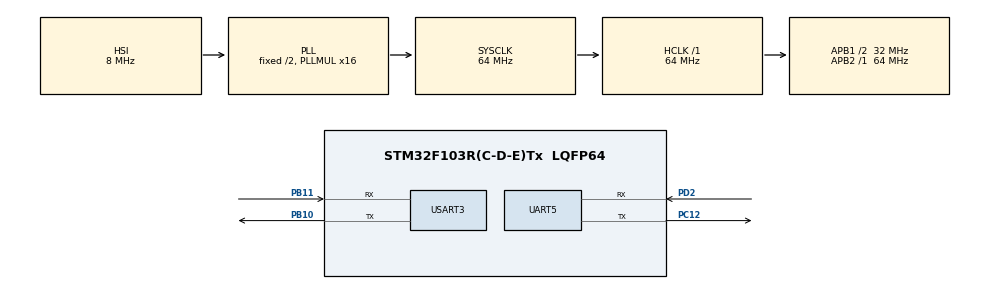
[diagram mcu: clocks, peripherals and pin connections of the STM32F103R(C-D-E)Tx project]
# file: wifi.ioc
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Dma.Request0=USART3_RX
Dma.USART3_RX.0.Direction=DMA_PERIPH_TO_MEMORY
Dma.USART3_RX.0.Instance=DMA1_Channel3
Dma.USART3_RX.0.MemDataAlignment=DMA_MDATAALIGN_BYTE
Dma.USART3_RX.0.MemInc=DMA_MINC_ENABLE
Dma.USART3_RX.0.Mode=DMA_NORMAL
Dma.USART3_RX.0.PeriphDataAlignment=DMA_PDATAALIGN_BYTE
Dma.USART3_RX.0.PeriphInc=DMA_PINC_DISABLE
Dma.USART3_RX.0.Priority=DMA_PRIORITY_LOW
Mcu.Family=STM32F1
Mcu.Name=STM32F103R(C-D-E)Tx
Mcu.Package=LQFP64
NVIC.DMA1_Channel3_IRQn=true\:0\:0\:false\:false\:true\:false
NVIC.PriorityGroup=NVIC_PRIORITYGROUP_4
NVIC.USART3_IRQn=true\:0\:0\:false\:false\:true\:true
PA13.Mode=Serial_Wire
PA13.Signal=SYS_JTMS-SWDIO
PA14.Mode=Serial_Wire
PA14.Signal=SYS_JTCK-SWCLK
PB10.Mode=Asynchronous
PB10.Signal=USART3_TX
PB11.Mode=Asynchronous
PB11.Signal=USART3_RX
PC12.Mode=Asynchronous
PC12.Signal=UART5_TX
PD2.Mode=Asynchronous
PD2.Signal=UART5_RX
ProjectManager.HeapSize=0x200
ProjectManager.StackSize=0x400
ProjectManager.TargetToolchain=MDK-ARM V5
RCC.AHBFreq_Value=64000000
RCC.APB1CLKDivider=RCC_HCLK_DIV2
RCC.APB1Freq_Value=32000000
RCC.APB1TimFreq_Value=64000000
RCC.APB2Freq_Value=64000000
RCC.APB2TimFreq_Value=64000000
RCC.HCLKFreq_Value=64000000
RCC.PLLMUL=RCC_PLL_MUL16
RCC.SYSCLKFreq_VALUE=64000000
RCC.SYSCLKSource=RCC_SYSCLKSOURCE_PLLCLK
RCC.USBFreq_Value=64000000
UART5.VirtualMode=Asynchronous
USART3.VirtualMode=VM_ASYNC
board=custom

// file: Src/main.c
/**
  ******************************************************************************
  * @file           : main.c
  * @brief          : Main program body
  ******************************************************************************
  ** This notice applies to any and all portions of this file
  * that are not between comment pairs USER CODE BEGIN and
  * USER CODE END. Other portions of this file, whether
  * inserted by the user or by software development tools
  * are owned by their respective copyright owners.
  *
  * COPYRIGHT(c) 2019 STMicroelectronics
  *
  * Redistribution and use in source and binary forms, with or without modification,
  * are permitted provided that the following conditions are met:
  *   1. Redistributions of source code must retain the above copyright notice,
  *      this list of conditions and the following disclaimer.
  *   2. Redistributions in binary form must reproduce the above copyright notice,
  *      this list of conditions and the following disclaimer in the documentation
  *      and/or other materials provided with the distribution.
  *   3. Neither the name of STMicroelectronics nor the names of its contributors
  *      may be used to endorse or promote products derived from this software
  *      without specific prior written permission.
  *
  * THIS SOFTWARE IS PROVIDED BY THE COPYRIGHT HOLDERS AND CONTRIBUTORS "AS IS"
  * AND ANY EXPRESS OR IMPLIED WARRANTIES, INCLUDING, BUT NOT LIMITED TO, THE
  * IMPLIED WARRANTIES OF MERCHANTABILITY AND FITNESS FOR A PARTICULAR PURPOSE ARE
  * DISCLAIMED. IN NO EVENT SHALL THE COPYRIGHT HOLDER OR CONTRIBUTORS BE LIABLE
  * FOR ANY DIRECT, INDIRECT, INCIDENTAL, SPECIAL, EXEMPLARY, OR CONSEQUENTIAL
  * DAMAGES (INCLUDING, BUT NOT LIMITED TO, PROCUREMENT OF SUBSTITUTE GOODS OR
  * SERVICES; LOSS OF USE, DATA, OR PROFITS; OR BUSINESS INTERRUPTION) HOWEVER
  * CAUSED AND ON ANY THEORY OF LIABILITY, WHETHER IN CONTRACT, STRICT LIABILITY,
  * OR TORT (INCLUDING NEGLIGENCE OR OTHERWISE) ARISING IN ANY WAY OUT OF THE USE
  * OF THIS SOFTWARE, EVEN IF ADVISED OF THE POSSIBILITY OF SUCH DAMAGE.
  *
  ******************************************************************************
  */
#include "main.h"
#include "stm32f1xx_hal.h"

/* USER CODE BEGIN Includes */
#include "string.h"
#include "serial-ops.h"
#include "wifi-ops.h"
#include "flash-ops.h"
/* USER CODE END Includes */

UART_HandleTypeDef huart5;
UART_HandleTypeDef huart3;
DMA_HandleTypeDef hdma_usart3_rx;

/* USER CODE BEGIN PV */
/* Private variables ---------------------------------------------------------*/

/* USER CODE END PV */

void SystemClock_Config(void);
static void MX_GPIO_Init(void);
static void MX_DMA_Init(void);
static void MX_UART5_Init(void);
static void MX_USART3_UART_Init(void);

/* USER CODE BEGIN PFP */
/* Private function prototypes -----------------------------------------------*/

struct wifi_config{
	char apname[16];
	char appass[16];
	char wifiname[16];
	char wifipass[16];
	}wifi;
/* USER CODE END PFP */

/* USER CODE BEGIN 0 */
char databuf[64];
/* USER CODE END 0 */

int main(void)
{

  /* MCU Configuration----------------------------------------------------------*/

  /* Reset of all peripherals, Initializes the Flash interface and the Systick. */
  HAL_Init();

  /* Configure the system clock */
  SystemClock_Config();

  /* Initialize all configured peripherals */
  MX_GPIO_Init();
  MX_DMA_Init();
  MX_UART5_Init();
  MX_USART3_UART_Init();
  /* USER CODE BEGIN 2 */
  __HAL_UART_ENABLE_IT(&huart3,UART_IT_IDLE);
	HAL_UART_Receive_DMA(&huart3,(uint8_t *)databuf,sizeof(databuf));   //dma接收数据
  /* USER CODE END 2 */

  /* Infinite loop */
  /* USER CODE BEGIN WHILE */

	int ret;
	int linkid;
	char  APNAME[]="baojinming";
	char  APPASS[]="12332112345";

	ret=wifi_ap_init(&huart3);       //wifi的AP模式初始化
	if(ret<0)
	{
		char *ptmp="wifi_ap_init failed\n";
		HAL_UART_Transmit(&huart5,(uint8_t *)"wifi_ap_init failed!\n",strlen("wifi_ap_init failed!\n"),100);
		return -12;
	}else
	{
	  HAL_UART_Transmit(&huart5,(uint8_t *)"wifi_ap_init success!\n",strlen("wifi_ap_init success!\n"),100);

	   //char data[64];
	   memset(&wifi,0,sizeof(wifi));
		int flag;
	   flash_ops_read(PAGE0_ADDR,&wifi,sizeof(wifi));
	   if(strlen(wifi.apname)==0 && wifi.apname[0]=='\0' && strlen(wifi.appass)==0 && wifi.appass[0]=='\0' )
	  {
			HAL_UART_Transmit(&huart5,(uint8_t *)"wifi_ap_start config!\n",strlen("wifi_ap_start config!\n"),100);
			strcpy(wifi.apname,APNAME);
	    strcpy(wifi.appass,APPASS);
	    flash_ops_write(PAGE0_ADDR,(int *)&wifi,sizeof(wifi));
		 }else{
			HAL_UART_Transmit(&huart5,(uint8_t *)"wifi_ap_starting!\n",strlen("wifi_ap_starting!\n"),100);
		 }
		 flag=wifi_ap_set_args(&huart3,wifi.apname,wifi.appass);
		 if(flag<0)
		 {
			 char *ptmp="wifi_ap_set_args failed\n";
		   HAL_UART_Transmit(&huart5,(uint8_t *)"wifi_ap_set_args failed!\n",strlen("wifi_ap_set_args failed!\n"),100);
		   return -12;
		 }else{
			 HAL_UART_Transmit(&huart5,(uint8_t *)"wifi_ap_set_args success!\n",strlen("wifi_ap_set_args success!\n"),100);
		   linkid=wifi_listen_and_wait_connect_timeout(&huart3,10001,60*1000);
		  if(linkid <0)
		  {
			 HAL_UART_Transmit(&huart5,(uint8_t *)"wifi_listen_and_wait_connect_timeout!\n",strlen("wifi_listen_and_wait_connect_timeout!\n"),100);
		   return -12;
		  }
		 }
	}
  while (1)
  {

  /* USER CODE END WHILE */

  /* USER CODE BEGIN 3 */
    char rxbuf[64];
		int rxlen;
		memset(rxbuf,0,sizeof(rxbuf));
		ret=wifi_ap_wait_recvdata_timeout(&huart3,linkid,rxbuf,&rxlen,60*1000);
		if(ret<0)
		{
			continue;
		}
		/*处理数据，然后给客户端回应数据*/
		ret=wifi_ap_send_data(&huart3,linkid,rxbuf,rxlen);
  }
  /* USER CODE END 3 */

}

void SystemClock_Config(void)
{

  RCC_OscInitTypeDef RCC_OscInitStruct;
  RCC_ClkInitTypeDef RCC_ClkInitStruct;

    /**Initializes the CPU, AHB and APB busses clocks
    */
  RCC_OscInitStruct.OscillatorType = RCC_OSCILLATORTYPE_HSI;
  RCC_OscInitStruct.HSIState = RCC_HSI_ON;
  RCC_OscInitStruct.HSICalibrationValue = 16;
  RCC_OscInitStruct.PLL.PLLState = RCC_PLL_ON;
  RCC_OscInitStruct.PLL.PLLSource = RCC_PLLSOURCE_HSI_DIV2;
  RCC_OscInitStruct.PLL.PLLMUL = RCC_PLL_MUL16;
  if (HAL_RCC_OscConfig(&RCC_OscInitStruct) != HAL_OK)
  {
    _Error_Handler(__FILE__, __LINE__);
  }

    /**Initializes the CPU, AHB and APB busses clocks
    */
  RCC_ClkInitStruct.ClockType = RCC_CLOCKTYPE_HCLK|RCC_CLOCKTYPE_SYSCLK
                              |RCC_CLOCKTYPE_PCLK1|RCC_CLOCKTYPE_PCLK2;
  RCC_ClkInitStruct.SYSCLKSource = RCC_SYSCLKSOURCE_PLLCLK;
  RCC_ClkInitStruct.AHBCLKDivider = RCC_SYSCLK_DIV1;
  RCC_ClkInitStruct.APB1CLKDivider = RCC_HCLK_DIV2;
  RCC_ClkInitStruct.APB2CLKDivider = RCC_HCLK_DIV1;

  if (HAL_RCC_ClockConfig(&RCC_ClkInitStruct, FLASH_LATENCY_2) != HAL_OK)
  {
    _Error_Handler(__FILE__, __LINE__);
  }

    /**Configure the Systick interrupt time
    */
  HAL_SYSTICK_Config(HAL_RCC_GetHCLKFreq()/1000);

    /**Configure the Systick
    */
  HAL_SYSTICK_CLKSourceConfig(SYSTICK_CLKSOURCE_HCLK);

  /* SysTick_IRQn interrupt configuration */
  HAL_NVIC_SetPriority(SysTick_IRQn, 0, 0);
}

/* UART5 init function */
static void MX_UART5_Init(void)
{

  huart5.Instance = UART5;
  huart5.Init.BaudRate = 115200;
  huart5.Init.WordLength = UART_WORDLENGTH_8B;
  huart5.Init.StopBits = UART_STOPBITS_1;
  huart5.Init.Parity = UART_PARITY_NONE;
  huart5.Init.Mode = UART_MODE_TX_RX;
  huart5.Init.HwFlowCtl = UART_HWCONTROL_NONE;
  huart5.Init.OverSampling = UART_OVERSAMPLING_16;
  if (HAL_UART_Init(&huart5) != HAL_OK)
  {
    _Error_Handler(__FILE__, __LINE__);
  }

}

/* USART3 init function */
static void MX_USART3_UART_Init(void)
{

  huart3.Instance = USART3;
  huart3.Init.BaudRate = 115200;
  huart3.Init.WordLength = UART_WORDLENGTH_8B;
  huart3.Init.StopBits = UART_STOPBITS_1;
  huart3.Init.Parity = UART_PARITY_NONE;
  huart3.Init.Mode = UART_MODE_TX_RX;
  huart3.Init.HwFlowCtl = UART_HWCONTROL_NONE;
  huart3.Init.OverSampling = UART_OVERSAMPLING_16;
  if (HAL_UART_Init(&huart3) != HAL_OK)
  {
    _Error_Handler(__FILE__, __LINE__);
  }

}

static void MX_DMA_Init(void)
{
  /* DMA controller clock enable */
  __HAL_RCC_DMA1_CLK_ENABLE();

  /* DMA interrupt init */
  /* DMA1_Channel3_IRQn interrupt configuration */
  HAL_NVIC_SetPriority(DMA1_Channel3_IRQn, 0, 0);
  HAL_NVIC_EnableIRQ(DMA1_Channel3_IRQn);

}

/** Configure pins as
        * Analog
        * Input
        * Output
        * EVENT_OUT
        * EXTI
*/
static void MX_GPIO_Init(void)
{

  /* GPIO Ports Clock Enable */
  __HAL_RCC_GPIOB_CLK_ENABLE();
  __HAL_RCC_GPIOA_CLK_ENABLE();
  __HAL_RCC_GPIOC_CLK_ENABLE();
  __HAL_RCC_GPIOD_CLK_ENABLE();

}

void _Error_Handler(char *file, int line)
{
  while(1)
  {
  }
}

/************************ (C) COPYRIGHT STMicroelectronics *****END OF FILE****/
